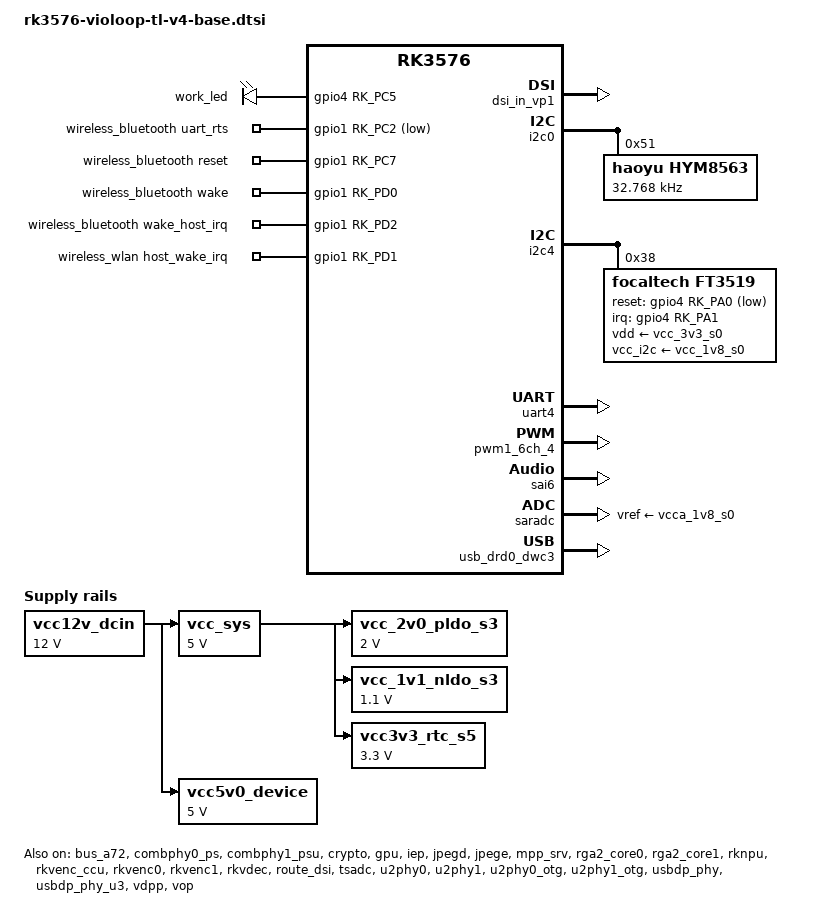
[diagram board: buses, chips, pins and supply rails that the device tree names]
// SPDX-License-Identifier: (GPL-2.0+ OR MIT)
/*
 * Copyright (c) 2024 Rockchip Electronics Co., Ltd.
 * Violoop TL V4 board profile.
 *
 */

#include <dt-bindings/gpio/gpio.h>
#include <dt-bindings/pwm/pwm.h>
#include <dt-bindings/pinctrl/rockchip.h>
#include <dt-bindings/input/rk-input.h>
#include <dt-bindings/display/drm_mipi_dsi.h>
#include <dt-bindings/display/rockchip_vop.h>
#include <dt-bindings/sensor-dev.h>


/ {

	backlight: backlight {
		compatible = "pwm-backlight";
		status = "disabled";
		pwms = <&pwm1_6ch_4 0 25000 0>;
		brightness-levels = <
			  0  20  20  21  21  22  22  23
			 23  24  24  25  25  26  26  27
			 27  28  28  29  29  30  30  31
			 31  32  32  33  33  34  34  35
			 35  36  36  37  37  38  38  39
			 40  41  42  43  44  45  46  47
			 48  49  50  51  52  53  54  55
			 56  57  58  59  60  61  62  63
			 64  65  66  67  68  69  70  71
			 72  73  74  75  76  77  78  79
			 80  81  82  83  84  85  86  87
			 88  89  90  91  92  93  94  95
			 96  97  98  99 100 101 102 103
			104 105 106 107 108 109 110 111
			112 113 114 115 116 117 118 119
			120 121 122 123 124 125 126 127
			128 129 130 131 132 133 134 135
			136 137 138 139 140 141 142 143
			144 145 146 147 148 149 150 151
			152 153 154 155 156 157 158 159
			160 161 162 163 164 165 166 167
			168 169 170 171 172 173 174 175
			176 177 178 179 180 181 182 183
			184 185 186 187 188 189 190 191
			192 193 194 195 196 197 198 199
			200 201 202 203 204 205 206 207
			208 209 210 211 212 213 214 215
			216 217 218 219 220 221 222 223
			224 225 226 227 228 229 230 231
			232 233 234 235 236 237 238 239
			240 241 242 243 244 245 246 247
			248 249 250 251 252 253 254 255
		>;
		default-brightness-level = <200>;
	};

	dp0_sound: dp0-sound {
		status = "disabled";
		compatible = "rockchip,hdmi";
		rockchip,mclk-fs = <512>;
		rockchip,card-name = "rockchip-dp0";
		rockchip,cpu = <&spdif_tx3>;
		rockchip,codec = <&dp0 1>;
		rockchip,jack-det;
	};

	dp1_sound: dp1-sound {
		status = "disabled";
		compatible = "rockchip,hdmi";
		rockchip,mclk-fs = <512>;
		rockchip,card-name = "rockchip-dp1";
		rockchip,cpu = <&spdif_tx3>;
		rockchip,codec = <&dp1 1>;
		rockchip,jack-det;
	};

	dp2_sound: dp2-sound {
		status = "disabled";
		compatible = "rockchip,hdmi";
		rockchip,mclk-fs = <512>;
		rockchip,card-name = "rockchip-dp2";
		rockchip,cpu = <&spdif_tx3>;
		rockchip,codec = <&dp2 1>;
		rockchip,jack-det;
	};

	edp_sound: edp-sound {
		status = "disabled";
		compatible = "rockchip,hdmi";
		rockchip,mclk-fs = <128>;
		rockchip,card-name = "rockchip-edp";
		rockchip,cpu = <&sai6>;
		rockchip,codec = <&edp 0>;
	};

	hdmi_sound: hdmi-sound {
		compatible = "rockchip,hdmi";
		rockchip,mclk-fs = <128>;
		rockchip,card-name = "rockchip-hdmi";
		rockchip,cpu = <&sai6>;
		rockchip,codec = <&hdmi>;
		rockchip,jack-det;
	};

	leds: leds {
		compatible = "gpio-leds";
		work_led: work {
			gpios = <&gpio4 RK_PC5 GPIO_ACTIVE_HIGH>;
			linux,default-trigger = "heartbeat";
		};
	};

	test-power {
		status = "okay";
	};

	vcc12v_dcin: vcc12v-dcin {
		compatible = "regulator-fixed";
		regulator-name = "vcc12v_dcin";
		regulator-always-on;
		regulator-boot-on;
		regulator-min-microvolt = <12000000>;
		regulator-max-microvolt = <12000000>;
	};

	vcc_sys: vcc5v0-sys {
		compatible = "regulator-fixed";
		regulator-name = "vcc_sys";
		regulator-always-on;
		regulator-boot-on;
		regulator-min-microvolt = <5000000>;
		regulator-max-microvolt = <5000000>;
		vin-supply = <&vcc12v_dcin>;
	};

	vcc5v0_device: vcc5v0-device {
		compatible = "regulator-fixed";
		regulator-name = "vcc5v0_device";
		regulator-always-on;
		regulator-boot-on;
		regulator-min-microvolt = <5000000>;
		regulator-max-microvolt = <5000000>;
		vin-supply = <&vcc12v_dcin>;
	};

	vcc_2v0_pldo_s3: vcc-2v0-pldo-s3 {
		compatible = "regulator-fixed";
		regulator-name = "vcc_2v0_pldo_s3";
		regulator-boot-on;
		regulator-always-on;
		regulator-min-microvolt = <2000000>;
		regulator-max-microvolt = <2000000>;
		vin-supply = <&vcc_sys>;
	};

	vcc_1v1_nldo_s3: vcc-1v1-nldo-s3 {
		compatible = "regulator-fixed";
		regulator-name = "vcc_1v1_nldo_s3";
		regulator-boot-on;
		regulator-always-on;
		regulator-min-microvolt = <1100000>;
		regulator-max-microvolt = <1100000>;
		vin-supply = <&vcc_sys>;
	};

	vcc3v3_rtc_s5: vcc3v3-rtc-s5 {
		compatible = "regulator-fixed";
		regulator-name = "vcc3v3_rtc_s5";
		regulator-boot-on;
		regulator-always-on;
		regulator-min-microvolt = <3300000>;
		regulator-max-microvolt = <3300000>;
		vin-supply = <&vcc_sys>;
	};

	wireless_bluetooth: wireless-bluetooth {
        compatible = "bluetooth-platdata";
        uart_rts_gpios = <&gpio1 RK_PC2 GPIO_ACTIVE_LOW>;
        pinctrl-names = "default", "rts_gpio";
        pinctrl-0 = <&uart4m1_rtsn &bt_reg_on &bt_wake &bt_host_wake>;
        pinctrl-1 = <&uart4_gpios>;
        BT,reset_gpio    = <&gpio1 RK_PC7 GPIO_ACTIVE_HIGH>;
        BT,wake_gpio     = <&gpio1 RK_PD0 GPIO_ACTIVE_HIGH>;
        BT,wake_host_irq = <&gpio1 RK_PD2 GPIO_ACTIVE_HIGH>;
        status = "okay";
    };

	wireless_wlan: wireless-wlan {
        compatible = "wlan-platdata";
        wifi_chip_type = "aic8800";
        pinctrl-names = "default";
        pinctrl-0 = <&wifi_host_wake_irq>;
        WIFI,host_wake_irq = <&gpio1 RK_PD1 GPIO_ACTIVE_HIGH>;
        status = "okay";
    };
};

&bus_a72 {
	bus-supply = <&vdd_logic_s0>;
	pvtm-supply = <&vdd_logic_s0>;
	status = "okay";
};

&combphy0_ps {
	status = "okay";
};

&combphy1_psu {
	status = "okay";
};

&cpu_l0 {
	cpu-supply = <&vdd_cpu_lit_s0>;
};

&cpu_b0 {
	cpu-supply = <&vdd_cpu_big_s0>;
};

&crypto {
	status = "okay";
};

&display_subsystem {
	clocks = <&hdptxphy_hdmi>;
	clock-names = "hdmi0_phy_pll";
};

&dsi {
	status = "disabled";

	ports {
		#address-cells = <1>;
		#size-cells = <0>;

		port@1 {
			reg = <1>;
			dsi_out_panel: endpoint {
				remote-endpoint = <&panel_in_dsi>;
			};
		};
	};

};

&dsi_in_vp0 {
	status = "disabled";
};

&dsi_in_vp1 {
	status = "okay";
};

&dsi_in_vp2 {
	status = "disabled";
};

&dsi_in_vopl {
	status = "disabled";
};

&gpu {
	mali-supply = <&vdd_gpu_s0>;
	status = "okay";
};



/**********已适配内容**********/

/**********RTC**********/

&i2c0 {
    status = "okay";
    pinctrl-0 = <&i2c0m1_xfer>;
    hym8563: hym8563@51 {
        compatible = "haoyu,hym8563";
        reg = <0x51>;
        #clock-cells = <0>;
        clock-frequency = <32768>;
        clock-output-names = "hym8563";
    };
};

/**********3.92寸触摸i2c**********/

&i2c4 {
    status = "okay";
    pinctrl-names = "default";
    pinctrl-0 = <&i2c4m3_xfer>;

	ft3519: touchscreen@38 {
		compatible = "focaltech,ft3519";
		reg = <0x38>;
		status = "okay";

		interrupt-parent = <&gpio4>;
		interrupts = <RK_PA1 IRQ_TYPE_EDGE_FALLING>;
		focaltech,reset-gpio = <&gpio4 RK_PA0 GPIO_ACTIVE_LOW>;
		focaltech,irq-gpio = <&gpio4 RK_PA1 GPIO_ACTIVE_HIGH>;
		focaltech,display-coords = <0 0 1079 1239>;
		/* Native touch orientation; the direct-DRM UI applies its own transform. */
		focaltech,max-touch-number = <10>;
		vdd-supply = <&vcc_3v3_s0>;
		vcc_i2c-supply = <&vcc_1v8_s0>;
		pinctrl-names = "default";
		pinctrl-0 = <&ft3519_reset &ft3519_irq>;
		panel = <&dsi_panel>;
	};
};

/**********WIFI 蓝牙**********/

&uart4 {
	status = "okay";
	pinctrl-names = "default";
	pinctrl-0 = <&uart4m1_xfer &uart4m1_ctsn>;
};

/**********已适配内容**********/


&iep {
	status = "okay";
};

&iep_mmu {
	status = "okay";
};

&jpegd {
	status = "okay";
};

&jpege {
	status = "okay";
};

&jpeg_mmu {
	status = "okay";
};

&mpp_srv {
	status = "okay";
};

&pinctrl {


	touch {
		ft3519_reset: ft3519-reset {
			rockchip,pins = <4 RK_PA0 RK_FUNC_GPIO &pcfg_pull_none>;
		};

		ft3519_irq: ft3519-irq {
			rockchip,pins = <4 RK_PA1 RK_FUNC_GPIO &pcfg_pull_up>;
		};
	};

	wireless-bluetooth {
		bt_reg_on: bt-reg-on {
			rockchip,pins = <1 RK_PC7 RK_FUNC_GPIO &pcfg_pull_none>;
		};

		bt_wake: bt-wake {
			rockchip,pins = <1 RK_PD0 RK_FUNC_GPIO &pcfg_pull_none>;
		};

		bt_host_wake: bt-host-wake {
			rockchip,pins = <1 RK_PD2 RK_FUNC_GPIO &pcfg_pull_down>;
		};

		uart4_gpios: uart4-gpios {
			rockchip,pins = <1 RK_PC2 RK_FUNC_GPIO &pcfg_pull_none>;
		};
	};

	wireless-wlan {
		wifi_host_wake_irq: wifi-host-wake-irq {
			rockchip,pins = <1 RK_PD1 RK_FUNC_GPIO &pcfg_pull_down>;
		};

	};
};

&pwm1_6ch_4 {
	status = "okay";
	pinctrl-0 = <&pwm1m0_ch4>;
};

&rga2_core0 {
	status = "okay";
};

&rga2_core0_mmu {
	status = "okay";
};

&rga2_core1 {
	status = "okay";
};

&rga2_core1_mmu {
	status = "okay";
};

&rknpu {
	rknpu-supply = <&vdd_npu_s0>;
	status = "okay";
};

&rknpu_mmu {
	status = "okay";
};

&rkvenc_ccu {
	status = "okay";
};

&rkvenc0 {
	status = "okay";
};

&rkvenc0_mmu {
	status = "okay";
};

&rkvenc1 {
	status = "okay";
};

&rkvenc1_mmu {
	status = "okay";

};

&rkvdec {
	status = "okay";
};

&rkvdec_mmu {
	status = "okay";
};

&rockchip_suspend {
	status = "okay";
	rockchip,sleep-debug-en = <1>;

	rockchip,sleep-io-ret-config = <
		(0
		| RKPM_VCCIO3_RET_EN
		)
	>;

	rockchip,regulator-on-before-mem = <&vdd_npu_s0>;
};

&route_dsi {
	status = "okay";
};

&vp1 {
	/* Keep VOP scan native; panel DCS scan rotation remains disabled. */
};

&sai6 {
	status = "okay";
};

&saradc {
	status = "okay";
	vref-supply = <&vcca_1v8_s0>;
};

&sdhci {
	bus-width = <8>;
	no-sdio;
	no-sd;
	non-removable;
	max-frequency = <200000000>;
	mmc-hs400-1_8v;
	mmc-hs400-enhanced-strobe;
	full-pwr-cycle-in-suspend;
	/* TL V4 uses the UFS device inside KM8V7001JM-B810. */
	status = "disabled";
};



&tsadc {
	status = "okay";
};

&u2phy0 {
	status = "okay";
};

&u2phy1 {
	status = "okay";
};

&u2phy0_otg {
	status = "okay";
};

&u2phy1_otg {
	status = "okay";
};





&usbdp_phy {
	status = "okay";
};

&usbdp_phy_dp {
	status = "disabled";
};

&usbdp_phy_u3 {
	status = "okay";
};

&usb_drd0_dwc3 {
	status = "okay";
};

&vdpp {
	status = "okay";
};

&vop {
	status = "okay";
	vop-supply = <&vdd_logic_s0>;
};

&vop_mmu {
	status = "okay";
};

&vp2 {
	assigned-clocks = <&cru DCLK_VP2_SRC>;
	assigned-clock-parents = <&cru PLL_VPLL>;
};
